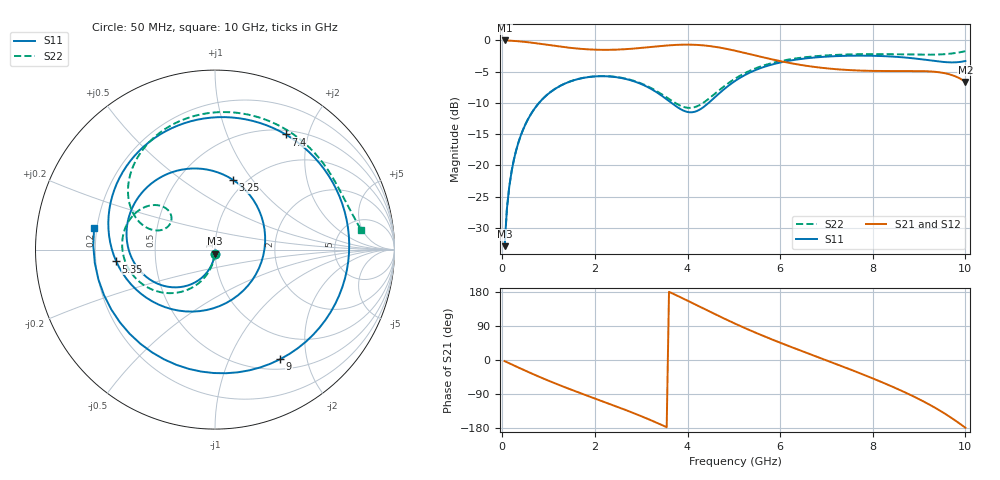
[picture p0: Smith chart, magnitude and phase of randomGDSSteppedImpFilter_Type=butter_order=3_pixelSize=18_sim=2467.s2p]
! freq	dB(S11)	phase(S11)	dB(S12)	phase(S12)
!  dB(S21)	phase(S21)	dB(S22)	phase(S22)
!S-par simulation data
#  GHz  S  DB  R 50
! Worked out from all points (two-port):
!   200 points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, 50 MHz to 10 GHz, reference 50 ohm
!   highest |S21| = 0.00 dB at 50 MHz (marker M1); lowest = -6.6 dB at 10 GHz (marker M2)
!   |S21| within 3 dB of the highest: start of sweep to 5.808 GHz
!   lowest |S11| = -32.9 dB at 50 MHz (marker M3), VSWR 1.05, Z = 49.8 - j2.25 ohm
!   |S11| at or under -10 dB: start of sweep to 793.8 MHz; 3.654 GHz to 4.455 GHz (801.9 MHz wide, 19.8 % of centre)
!   |S22| runs from -32.9 to -1.7 dB; largest |S21 - S12| = 0
!   S11 on the Smith chart (normalised r, x): 50 MHz: 1.00, -0.04; 3.25 GHz: 0.87, +0.81; 5.35 GHz: 0.29, -0.05; 7.4 GHz: 0.56, +1.65; 9 GHz: 0.64, -1.57; 10 GHz: 0.19, +0.08
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0.05  -32.93 -93.2  -0.00 -2.9  -0.00 -2.9  -32.93 -92.8
0.1  -26.93 -96.5  -0.02 -5.8  -0.02 -5.8  -26.93 -95.6
0.2  -20.98 -102.8  -0.05 -11.5  -0.05 -11.5  -20.98 -101.0
0.5  -13.42 -121.2  -0.24 -28.3  -0.24 -28.3  -13.42 -116.6
1.1  -7.95 -155.6  -0.84 -59.7  -0.84 -59.7  -7.94 -144.9
1.75  -6.00 169.6  -1.38 -90.3  -1.38 -90.3  -5.98 -171.2
2.6  -6.06 122.2  -1.43 -129.0  -1.43 -129.0  -6.01 159.4
3.25  -7.92 75.7  -1.02 -161.1  -1.02 -161.1  -7.77 142.7
3.4  -8.63 62.0  -0.91 -169.1  -0.91 -169.1  -8.42 140.6
4.1  -11.49 -31.3  -0.68 150.6  -0.68 150.6  -10.77 152.3
4.6  -9.04 -104.0  -1.03 120.6  -1.03 120.6  -8.48 162.5
5.05  -6.37 -149.2  -1.68 94.6  -1.68 94.6  -6.01 155.9
5.35  -5.13 -173.1  -2.21 78.3  -2.21 78.3  -4.84 147.7
5.95  -3.62 146.1  -3.23 48.1  -3.23 48.1  -3.40 128.6
6.7  -2.76 100.7  -4.20 12.9  -4.20 12.9  -2.57 104.4
7.4  -2.47 58.5  -4.71 -19.6  -4.71 -19.6  -2.26 82.2
7.9  -2.44 26.4  -4.86 -43.6  -4.86 -43.6  -2.19 66.7
8.35  -2.55 -5.1  -4.90 -66.5  -4.90 -66.5  -2.20 52.9
9  -2.97 -59.3  -4.90 -103.4  -4.90 -103.4  -2.28 34.1
9.5  -3.43 -114.9  -5.17 -137.3  -5.17 -137.3  -2.23 20.9
9.8  -3.50 -157.7  -5.80 -161.2  -5.80 -161.2  -2.00 13.3
10  -3.30 170.0  -6.65 -178.8  -6.65 -178.8  -1.72 7.8
